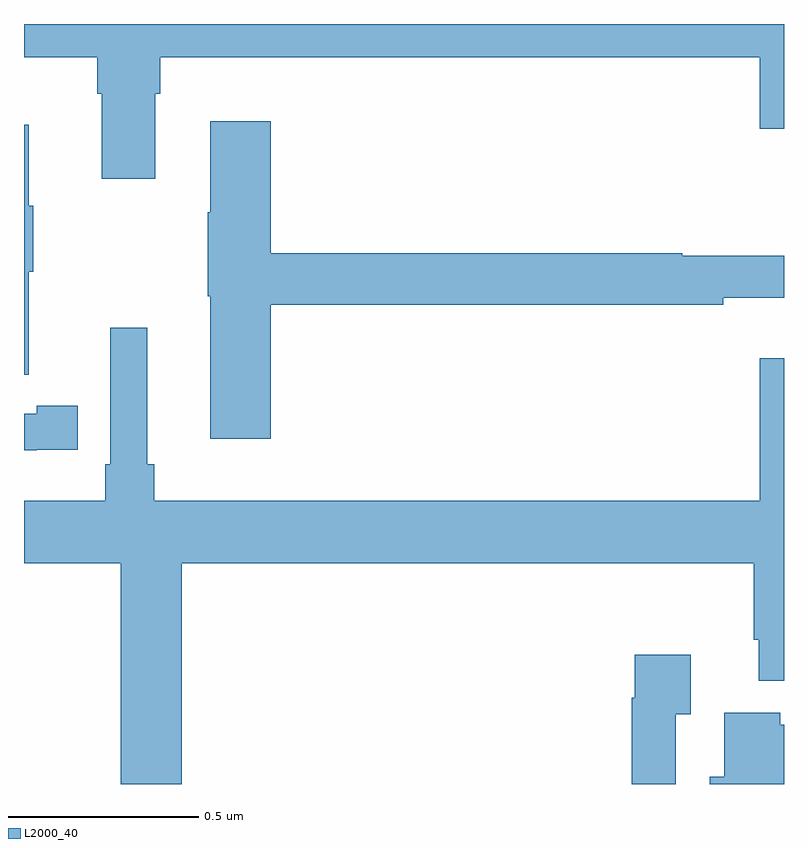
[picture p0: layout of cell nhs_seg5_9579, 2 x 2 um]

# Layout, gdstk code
import gdstk
lib = gdstk.Library(unit=1e-6, precision=1e-09)
def P(c, l, *ps):  # polygons
    for p in ps: c.add(gdstk.Polygon(p, *l))
L2000_40 = (2000, 40)

nhs_seg5_9579 = lib.new_cell('nhs_seg5_9579')
P(nhs_seg5_9579, L2000_40, [(235.345,904.616),(235.358,904.616),(235.358,904.712),(236.936,904.712),(236.936,904.524),(237,904.524),(237,904.799),(235,904.799),(235,904.712),(235.193,904.712),(235.193,904.616),(235.205,904.616),(235.205,904.392),(235.345,904.392)],
  [(235.649,904.06),(236.84,904.06),(236.84,904.079),(237,904.079),(237,904.189),(236.732,904.189),(236.732,904.196),(235.649,904.196),(235.649,904.543),(235.49,904.543),(235.49,904.304),(235.483,904.304),(235.483,904.083),(235.49,904.083),(235.49,903.708),(235.649,903.708)],
  [(235.013,904.147),(235.024,904.147),(235.024,904.321),(235.013,904.321),(235.013,904.534),(235,904.534),(235,903.876),(235.013,903.876)],
  [(235.415,903.38),(236.921,903.38),(236.921,903.178),(236.933,903.178),(236.933,903.071),(237,903.071),(237,903.919),(236.936,903.919),(236.936,903.544),(235.343,903.544),(235.343,903.64),(235.324,903.64),(235.324,904),(235.227,904),(235.227,903.64),(235.214,903.64),(235.214,903.544),(235,903.544),(235,903.38),(235.255,903.38),(235.255,902.799),(235.415,902.799)],
  [(235.034,903.678),(235.142,903.678),(235.142,903.794),(235.034,903.794),(235.034,903.774),(235,903.774),(235,903.677),(235.034,903.677)],
  [(236.715,902.983),(236.755,902.983),(236.755,903.139),(236.607,903.139),(236.607,903.026),(236.599,903.026),(236.599,902.799),(236.715,902.799)],
  [(237,902.955),(236.99,902.955),(236.99,902.986),(236.843,902.986),(236.843,902.818),(236.804,902.818),(236.804,902.799),(237,902.799)])

lib.write_gds('nhs_seg5_9579.gds')
